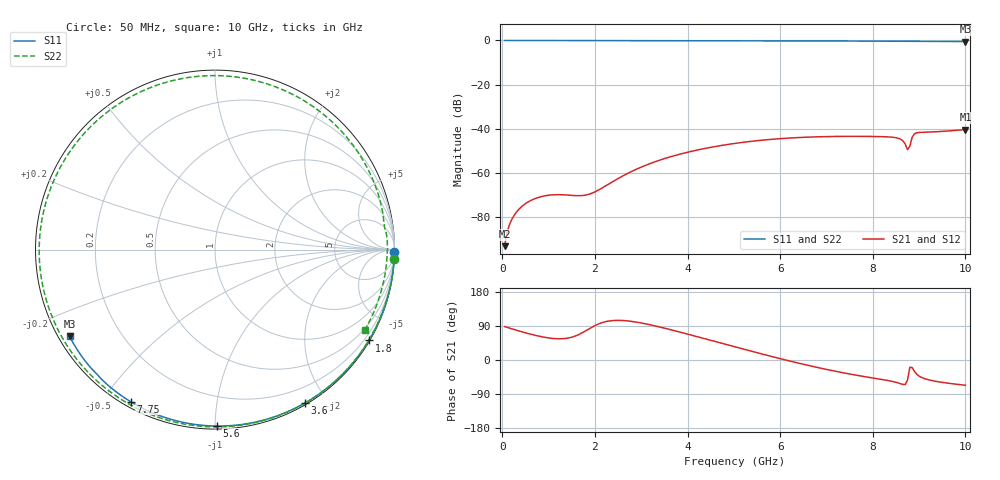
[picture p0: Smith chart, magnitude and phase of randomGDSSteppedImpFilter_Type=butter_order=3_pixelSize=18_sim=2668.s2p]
! freq	dB(S11)	phase(S11)	dB(S12)	phase(S12)
!  dB(S21)	phase(S21)	dB(S22)	phase(S22)
!S-par simulation data
#  GHz  S  DB  R 50
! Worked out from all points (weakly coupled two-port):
!   200 points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, 50 MHz to 10 GHz, reference 50 ohm
!   highest |S21| = -40.45 dB at 10 GHz (marker M1); lowest = -93.4 dB at 50 MHz (marker M2)
!   lowest |S11| = -0.5 dB at 10 GHz (marker M3), VSWR 34.53, Z = 1.56 - j13.8 ohm
!   |S11| at or under -10 dB: nowhere
!   |S22| runs from -0.5 to 0.0 dB; largest |S21 - S12| = 0
!   S11 on the Smith chart (normalised r, x): 50 MHz: open; 1.8 GHz: 0.03, -3.66; 3.6 GHz: 0.02, -1.75; 5.6 GHz: 0.02, -1.01; 7.75 GHz: 0.02, -0.59; 10 GHz: 0.03, -0.28
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0.05  -0.00 -0.9  -93.41 88.1  -93.41 88.1  -0.00 -3.0
0.25  -0.01 -4.3  -79.60 80.7  -79.60 80.7  -0.02 -14.8
0.55  -0.01 -9.4  -73.42 70.1  -73.42 70.1  -0.05 -32.2
0.95  -0.02 -16.3  -70.43 59.1  -70.43 59.1  -0.07 -54.7
1.35  -0.03 -23.0  -70.13 56.7  -70.13 56.7  -0.09 -75.9
1.75  -0.04 -29.7  -70.37 73.4  -70.37 73.4  -0.11 -95.9
1.8  -0.04 -30.6  -70.20 76.9  -70.20 76.9  -0.11 -98.3
2.6  -0.06 -43.7  -61.55 104.2  -61.55 104.2  -0.14 -134.0
3.4  -0.07 -56.4  -54.34 87.1  -54.34 87.1  -0.17 -165.9
3.6  -0.08 -59.6  -53.01 81.1  -53.01 81.1  -0.17 -173.5
4.3  -0.10 -70.3  -49.36 58.6  -49.36 58.6  -0.20 160.8
5.05  -0.12 -81.5  -46.67 33.9  -46.67 33.9  -0.23 134.1
5.6  -0.15 -89.4  -45.30 16.1  -45.30 16.1  -0.25 114.8
6.7  -0.20 -104.8  -43.82 -16.9  -43.82 -16.9  -0.28 76.3
7.75  -0.27 -119.1  -43.55 -42.4  -43.55 -42.4  -0.31 40.5
8.35  -0.33 -127.1  -43.81 -54.7  -43.81 -54.7  -0.35 20.8
8.6  -0.35 -130.4  -44.83 -62.5  -44.83 -62.5  -0.38 12.9
8.75  -0.37 -132.5  -49.56 -53.0  -49.56 -53.0  -0.42 8.4
8.8  -0.39 -133.1  -48.09 -19.5  -48.09 -19.5  -0.41 7.1
8.85  -0.39 -133.7  -43.95 -19.7  -43.95 -19.7  -0.37 5.7
8.95  -0.39 -135.0  -41.94 -37.5  -41.94 -37.5  -0.35 2.4
10  -0.50 -149.2  -40.45 -66.7  -40.45 -66.7  -0.47 -28.3
